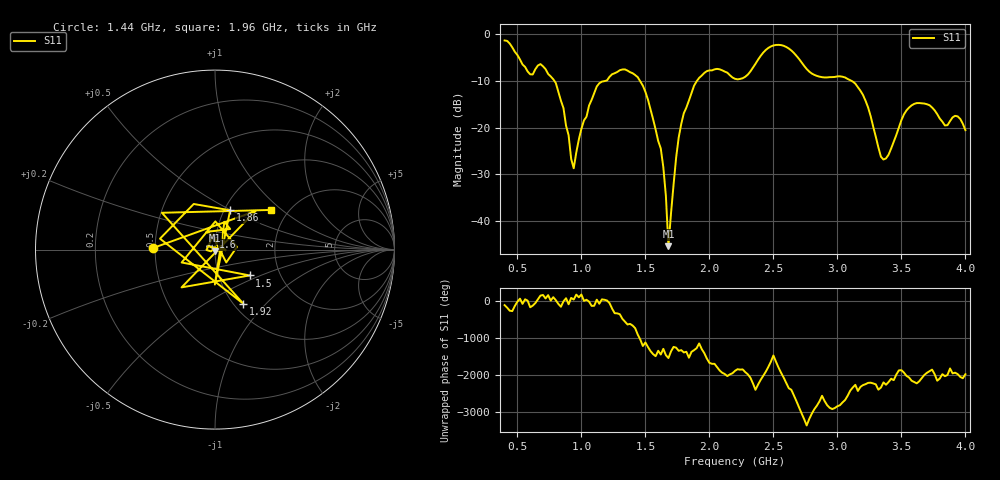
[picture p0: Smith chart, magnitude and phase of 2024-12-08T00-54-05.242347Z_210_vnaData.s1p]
!Created with skrf (http://scikit-rf.org).
# Hz S RI R 50.0
!freq ReS11 ImS11
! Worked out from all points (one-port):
!   181 points, 400 MHz to 4 GHz, reference 50 ohm
!   lowest |S11| = -45.4 dB at 1.68 GHz (marker M1), VSWR 1.01, Z = 49.9 - j0.533 ohm
!   |S11| at or under -10 dB: 788.6 MHz to 1.188 GHz (398.9 MHz wide, 40.4 % of centre); 1.457 GHz to 1.903 GHz (445.8 MHz wide, 26.5 % of centre); 3.11 GHz to end of sweep
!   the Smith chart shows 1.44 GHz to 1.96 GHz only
!   S11 on the Smith chart (normalised r, x): 1.44 GHz: 0.49, +0.01; 1.5 GHz: 1.40, -0.43; 1.6 GHz: 0.97, +0.14; 1.86 GHz: 1.07, +0.49; 1.92 GHz: 1.11, -0.75; 1.96 GHz: 1.64, +0.85
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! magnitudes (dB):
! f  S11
! 400 MHz  -1.4
! 600 MHz  -8.6
! 720 MHz  -7.5
! 860 MHz  -15.8
! 940 MHz  -28.7
! 1 GHz  -20.3
! 1.12 GHz  -11.2
! 1.3 GHz  -7.7
! 1.44 GHz  -9.2
! 1.5 GHz  -12.4
! 1.6 GHz  -22.9
! 1.64 GHz  -28.5
! 1.66 GHz  -34.6
! 1.68 GHz  -45.4
! 1.76 GHz  -22.1
! 1.86 GHz  -12.6
! 1.92 GHz  -9.4
! 1.96 GHz  -8.3
! 2.2 GHz  -9.6
! 2.48 GHz  -2.6
! 2.66 GHz  -4.0
! 2.82 GHz  -8.7
! 3.1 GHz  -9.9
! 3.22 GHz  -14.3
! 3.36 GHz  -26.8
! 3.56 GHz  -15.7
! 3.94 GHz  -17.6
! 4 GHz  -20.5
